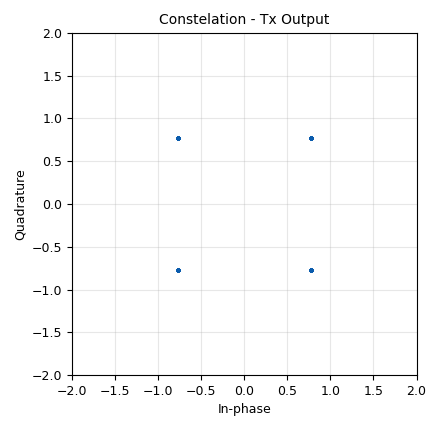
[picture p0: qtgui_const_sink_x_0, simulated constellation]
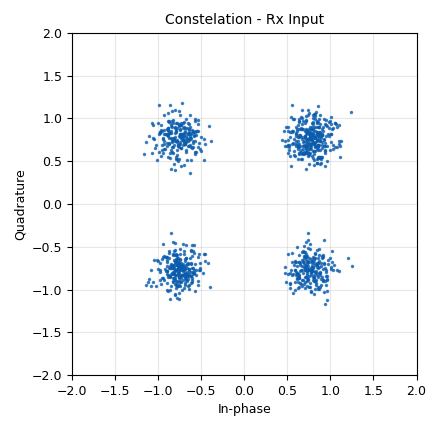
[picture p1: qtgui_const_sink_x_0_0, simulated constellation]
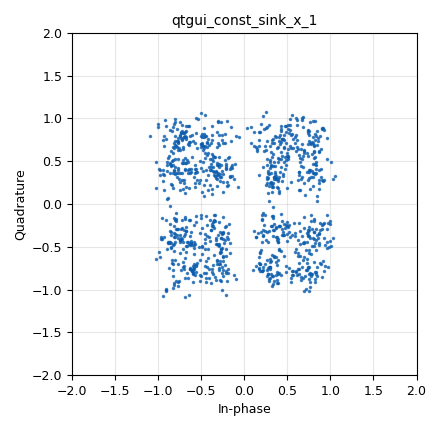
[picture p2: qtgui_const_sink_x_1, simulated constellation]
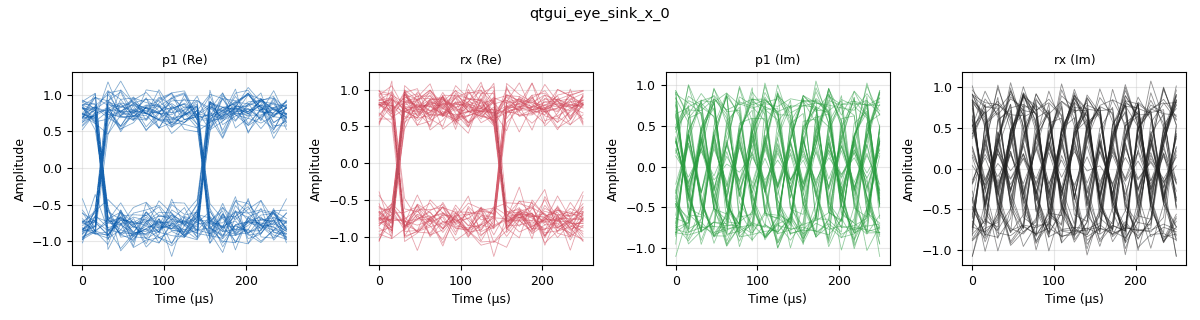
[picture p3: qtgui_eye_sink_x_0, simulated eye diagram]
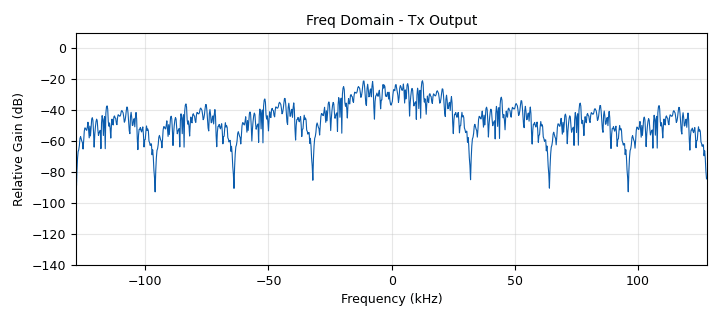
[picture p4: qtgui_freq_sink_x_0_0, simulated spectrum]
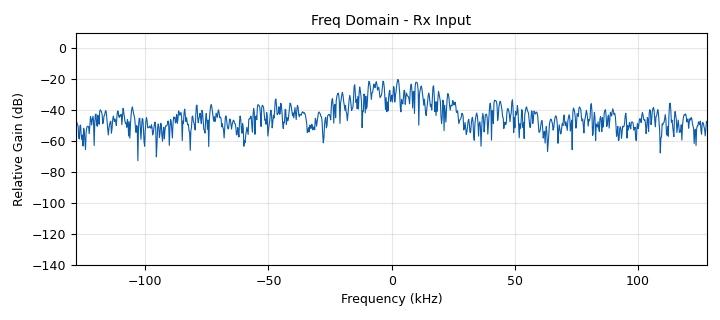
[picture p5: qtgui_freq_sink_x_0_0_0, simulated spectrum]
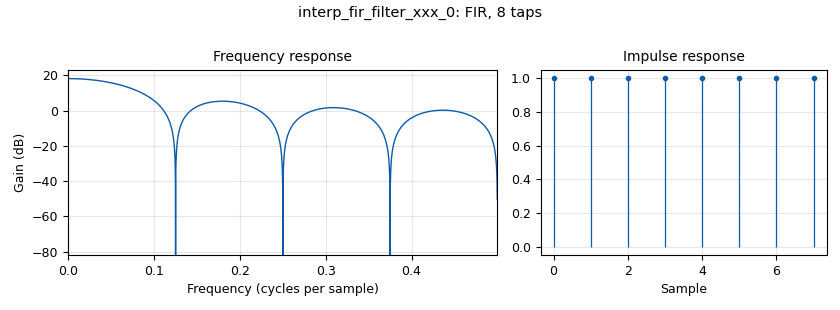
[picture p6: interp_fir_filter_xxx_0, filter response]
options:
  parameters:
    author: Stefano Rezende
    generate_options: qt_gui
    id: PSK_Mod_Demod
    output_language: python
    title: PSK_Mod_Demod
  states: {}

blocks:
- name: M
  id: variable
  parameters:
    value: len(tableConstelation)
  states: {}
- name: Rb
  id: variable
  parameters:
    value: Rs*bperSym
  states: {}
- name: Rs
  id: variable
  parameters:
    value: '32000'
  states: {}
- name: Sps
  id: variable
  parameters:
    value: '8'
  states: {}
- name: bperSym
  id: variable
  parameters:
    value: int(math.log(M,2))
  states: {}
- name: constellationObject
  id: variable_constellation
  parameters:
    const_points: tableConstelation
    dims: '1'
    normalization: digital.constellation.AMPLITUDE_NORMALIZATION
    precision: '8'
    rot_sym: '4'
    sym_map: mapa
    type: calcdist
  states: {}
- name: h
  id: variable
  parameters:
    value: '[1]*Sps'
  states: {}
- name: h
  id: variable
  parameters:
    value: wform.rcos(Sps,ntaps,1)
  states: {state: disabled}
- name: h
  id: variable
  parameters:
    value: wform.rrcos(Sps,ntaps,1)
  states: {state: disabled}
- name: mapa
  id: variable
  parameters:
    value: numpy.arange(M)
  states: {}
- name: ntaps
  id: variable
  parameters:
    value: 16*Sps
  states: {}
- name: samp_rate
  id: variable
  parameters:
    value: Rs*Sps
  states: {}
- name: tableConstelation
  id: variable
  parameters:
    value: (0.77+0.77j, -0.77+0.77j, -0.77-0.77j, 0.77-0.77j)
  states: {}
- name: analog_agc3_xx_0
  id: analog_agc3_xx
  parameters:
    attack_rate: '1e-3'
    decay_rate: '1e-4'
    gain: '1.0'
    iir_update_decim: '1'
    max_gain: '65536'
    reference: '1.0'
    type: complex
  states: {}
- name: analog_random_source_x_0
  id: analog_random_source_x
  parameters:
    max: '2'
    min: '0'
    num_samps: '1000'
    repeat: 'True'
    type: byte
  states: {}
- name: blocks_char_to_float_0_0_0
  id: blocks_char_to_float
  parameters:
    scale: '1'
  states: {}
- name: blocks_char_to_float_0_1
  id: blocks_char_to_float
  parameters:
    scale: '1'
  states: {}
- name: blocks_complex_to_float_0
  id: blocks_complex_to_float
  parameters: {}
  states: {}
- name: blocks_complex_to_float_0_0
  id: blocks_complex_to_float
  parameters: {}
  states: {}
- name: blocks_delay_1_0
  id: blocks_delay
  parameters:
    delay: Sps
    type: complex
  states: {}
- name: blocks_delay_1_0_0_0
  id: blocks_delay
  parameters:
    delay: Sps*bperSym
    type: byte
  states: {}
- name: blocks_multiply_const_vxx_0
  id: blocks_multiply_const_vxx
  parameters:
    const: 1/Sps
    type: complex
  states: {}
- name: blocks_pack_k_bits_bb_0
  id: blocks_pack_k_bits_bb
  parameters:
    k: '8'
  states: {}
- name: blocks_packed_to_unpacked_xx_0
  id: blocks_packed_to_unpacked_xx
  parameters:
    bits_per_chunk: bperSym
    endianness: gr.GR_MSB_FIRST
    type: byte
  states: {}
- name: blocks_throttle_0
  id: blocks_throttle
  parameters:
    samples_per_second: samp_rate
    type: complex
  states: {}
- name: blocks_unpack_k_bits_bb_0
  id: blocks_unpack_k_bits_bb
  parameters:
    k: '8'
  states: {}
- name: blocks_unpacked_to_packed_xx_0
  id: blocks_unpacked_to_packed_xx
  parameters:
    bits_per_chunk: bperSym
    endianness: gr.GR_MSB_FIRST
    type: byte
  states: {}
- name: channels_channel_model_0
  id: channels_channel_model
  parameters:
    epsilon: '1.0'
    freq_offset: '0.0'
    noise_voltage: '0.2'
    seed: '0'
    taps: '1'
  states: {}
- name: digital_chunks_to_symbols_xx_0
  id: digital_chunks_to_symbols_xx
  parameters:
    dimension: '1'
    in_type: byte
    out_type: complex
    symbol_table: tableConstelation
  states: {}
- name: digital_constellation_decoder_cb_0
  id: digital_constellation_decoder_cb
  parameters:
    constellation: constellationObject
  states: {}
- name: epy_block_0
  id: epy_block
  parameters:
    _source_code: |
      import numpy as np
      from gnuradio import gr

      class inversedB(gr.sync_block):  

          def __init__(self, ): 
              gr.sync_block.__init__(
                  self,
                  name='e_inversedB_ff',
                  in_sig=[np.float32],
                  out_sig=[np.float32]
              )

          def work(self, input_items, output_items):
              x=input_items[0]
              y=output_items[0]
              y[:]=np.power(10,x)
              return len(y)
  states: {}
- name: fec_ber_bf_0
  id: fec_ber_bf
  parameters:
    test_mode: 'False'
  states: {}
- name: import_0
  id: import
  parameters:
    imports: import math
  states: {}
- name: interp_fir_filter_xxx_0
  id: interp_fir_filter_xxx
  parameters:
    interp: Sps
    taps: h
    type: ccc
  states: {}
- name: interp_fir_filter_xxx_0_0
  id: interp_fir_filter_xxx
  parameters:
    interp: '1'
    taps: h
    type: ccc
  states: {}
- name: qtgui_const_sink_x_0
  id: qtgui_const_sink_x
  parameters:
    gui_hint: 0,0
    name: '"Constelation - Tx Output"'
    size: '1024'
    type: complex
  states: {}
- name: qtgui_const_sink_x_0_0
  id: qtgui_const_sink_x
  parameters:
    gui_hint: 0,1
    name: '"Constelation - Rx Input"'
    size: '1024'
    type: complex
  states: {}
- name: qtgui_const_sink_x_1
  id: qtgui_const_sink_x
  parameters:
    gui_hint: 4,1
    size: '1024'
    type: complex
  states: {}
- name: qtgui_eye_sink_x_0
  id: qtgui_eye_sink_x
  parameters:
    autoscale: 'True'
    label1: p1 (Re)
    label2: rx (Re)
    label3: p1 (Im)
    label4: rx (Im)
    marker1: '1'
    nconnections: '2'
    samp_per_symbol: Sps
    size: '1024'
    srate: Rs*bperSym
    type: complex
    yunit: ''
  states: {}
- name: qtgui_freq_sink_x_0_0
  id: qtgui_freq_sink_x
  parameters:
    bw: samp_rate
    fc: '0'
    fftsize: '1024'
    gui_hint: 2,0
    name: '"Freq Domain - Tx Output"'
    type: complex
  states: {}
- name: qtgui_freq_sink_x_0_0_0
  id: qtgui_freq_sink_x
  parameters:
    bw: samp_rate
    fc: '0'
    fftsize: '1024'
    gui_hint: 2,1
    name: '"Freq Domain - Rx Input"'
    type: complex
  states: {}
- name: qtgui_number_sink_0
  id: qtgui_number_sink
  parameters:
    avg: '1'
    graph_type: qtgui.NUM_GRAPH_HORIZ
    name: BER
    type: float
  states: {}
- name: qtgui_time_sink_x_0
  id: qtgui_time_sink_x
  parameters:
    gui_hint: 1,0
    name: '"Time Domain - Tx Output"'
    size: '1024'
    srate: samp_rate
    type: complex
  states: {}
- name: qtgui_time_sink_x_0_0
  id: qtgui_time_sink_x
  parameters:
    gui_hint: 1,1
    name: '"Time Domain - Rx Input"'
    size: '1024'
    srate: samp_rate
    type: complex
  states: {}
- name: qtgui_time_sink_x_0_0_0
  id: qtgui_time_sink_x
  parameters:
    gui_hint: 3,1
    label1: p1 (Im)
    label2: r1 (Im)
    name: '"WaveForm x Sample (Im)"'
    nconnections: '2'
    size: 16*Sps
    srate: samp_rate
    type: float
    width1: '3'
    width2: '3'
    ymax: '1.5'
    ymin: '-1.5'
  states: {}
- name: qtgui_time_sink_x_0_1
  id: qtgui_time_sink_x
  parameters:
    gui_hint: 3,0
    label1: p1 (Re)
    label2: r1 (Re)
    name: '"WaveForm x Sample (Re)"'
    nconnections: '2'
    size: 16*Sps
    srate: samp_rate
    type: float
    width1: '3'
    width2: '3'
    ymax: '1.5'
    ymin: '-1.5'
  states: {}
- name: qtgui_time_sink_x_1
  id: qtgui_time_sink_x
  parameters:
    color3: magenta
    gui_hint: 4,0
    label1: tx (Re)
    label2: tx (Im)
    label3: rx (Re)
    label4: rx (Im)
    marker1: '0'
    marker2: '0'
    marker3: '0'
    marker4: '0'
    name: '"Sample Stream"'
    nconnections: '2'
    size: '32'
    srate: Rs
    stemplot: 'True'
    style3: '2'
    type: complex
    width1: '3'
    width2: '3'
    width3: '3'
    width4: '3'
    ymax: '1.5'
    ymin: '-1.5'
  states: {}
- name: qtgui_time_sink_x_2_0
  id: qtgui_time_sink_x
  parameters:
    autoscale: 'True'
    label1: tx
    label2: rx
    marker1: '0'
    marker2: '0'
    name: '"Bit Stream"'
    nconnections: '2'
    size: 32*bperSym
    srate: Rs*bperSym
    stemplot: 'True'
    type: float
    width1: '3'
    width2: '3'
    ylabel: '""'
    ymax: '1.5'
    ymin: '-0.5'
  states: {}
- name: rational_resampler_xxx_0
  id: rational_resampler_xxx
  parameters:
    decim: Sps
    interp: '1'
    type: ccc
  states: {}
- name: virtual_sink_0
  id: virtual_sink
  parameters:
    stream_id: p0
  states: {}
- name: virtual_sink_0_0
  id: virtual_sink
  parameters:
    stream_id: p1
  states: {}
- name: virtual_sink_0_0_0
  id: virtual_sink
  parameters:
    stream_id: r1
  states: {}
- name: virtual_sink_0_0_0_0
  id: virtual_sink
  parameters:
    stream_id: r2
  states: {}
- name: virtual_sink_0_0_0_0_0
  id: virtual_sink
  parameters:
    stream_id: t2
  states: {}
- name: virtual_sink_1
  id: virtual_sink
  parameters:
    stream_id: t3
  states: {}
- name: virtual_source_0
  id: virtual_source
  parameters:
    stream_id: p0
  states: {}
- name: virtual_source_0_0
  id: virtual_source
  parameters:
    stream_id: p1
  states: {}
- name: virtual_source_0_1
  id: virtual_source
  parameters:
    stream_id: r1
  states: {}
- name: virtual_source_0_1_0
  id: virtual_source
  parameters:
    stream_id: t2
  states: {}
- name: virtual_source_0_1_0_0
  id: virtual_source
  parameters:
    stream_id: r2
  states: {}
- name: virtual_source_1
  id: virtual_source
  parameters:
    stream_id: t3
  states: {}
- name: wform
  id: epy_module
  parameters:
    source_code: "import math\r\nimport numpy\r\n#######################################################\r\n##        Hecho por Homero Ortega Boada              ##\r\n##        comdiguis@saber.uis.edu.co                 ##\r\n##     Universidad Industrial de Santander           ##\r\n#######################################################\r\n\r\n#######################################################\r\n##               Forma rectangular                   ##\r\n#######################################################                       \r\ndef rect(Sps):\r\n    return Sps*[1.,]\r\n\r\n#######################################################\r\n##               Forma de Nyquist                    ##\r\n#######################################################                       \r\ndef nyq(Sps,ntaps):\r\n    n=numpy.linspace(-int(ntaps/2), int(ntaps/2-1),ntaps)\r\n    h=numpy.sinc(n/Sps)\r\n#    return h/numpy.amax(h)\r\n    return h\r\n#######################################################\r\n##               Forma Coseno Alzado                 ##\r\n#######################################################                       \r\ndef rcos(Sps,ntaps,beta):\r\n    if beta==0:\r\n        h=nyq(Sps,ntaps)\r\n    else:\r\n        h=ntaps*[0,]\r\n        for n in range(ntaps):\r\n            k=n-ntaps/2. # esto es para que h[n] quede centrada en la mitad del vector\r\n            if abs(k)==Sps/(2.*beta):\r\n                h[n]=numpy.sinc(1./(2.*beta))*math.pi/4.\r\n            else:\r\n                h[n]=numpy.sinc(k/Sps)*math.cos(beta*k*math.pi/Sps)/(1.-(2.*beta*k/Sps)**2)                \r\n    Amp=numpy.amax(h)\r\n    return h/Amp\r\n#######################################################\r\n##            Forma Raiz de Coseno Alzado            ##\r\n#######################################################                       \r\n\r\ndef rrcos(Sps,ntaps,beta):\r\n    if beta==0:\r\n        h=nyq(Sps,ntaps)\r\n    else:\r\n        h=ntaps*[0,]\r\n        beta4=4.*beta\r\n        for n in range(ntaps):\r\n            k=n-ntaps/2. # esto es para que h[n] quede centrada en la mitad del vector\r\n            if k==0:\r\n                h[n]=1+beta*(4./math.pi-1.)\r\n            elif abs(k)==Sps/beta4:\r\n                ha=(1.+2./math.pi)*math.sin(math.pi/beta4)\r\n                hb=(1.-2./math.pi)*math.cos(math.pi/beta4)\r\n                h[n]=(ha+hb)*beta/math.sqrt(2.)\r\n            else:\r\n                ks=k/Sps\r\n                kspi=math.pi*ks\r\n                Num=math.sin(kspi*(1-beta))+beta4*ks*math.cos(kspi*(1+beta))\r\n                Den=kspi*(1.-(beta4*ks)**2)\r\n                h[n]=Num/Den                \r\n    Amp=numpy.amax(h)\r\n    return h/Amp\r\n########################################################\r\n##     Bipolar non return to zero level signal        ##\r\n########################################################\r\ndef B_NRZ_L(Sps):\r\n    return Sps*[1.,]\r\n\r\n########################################################\r\n##  Forma sinc . Es la misma nyq() que aparece arriba ##\r\n########################################################\r\ndef sinc(Sps,ntaps):\r\n    n=np.linspace(-int(ntaps/2), int(ntaps/2-1),ntaps)\r\n    h=np.sinc(n/Sps)\r\n    return h\r\n########################################################\r\n##              forma diente se sierra                ##\r\n########################################################\r\ndef saw(Sps):\r\n    return np.linspace(0,Sps-1,Sps)\t\r\n########################################################\r\n#         Bipolar non return to zero signal           ##\r\n########################################################\r\ndef RZ(Sps):\r\n    h=Sps*[1.,]\r\n    Sps_m=int(Sps/2)\r\n    h[Sps_m+1:Sps:1]=np.zeros(Sps-Sps_m)\r\n    return h\r\n"
  states: {}

connections:
- [analog_agc3_xx_0, '0', digital_constellation_decoder_cb_0, '0']
- [analog_random_source_x_0, '0', blocks_pack_k_bits_bb_0, '0']
- [analog_random_source_x_0, '0', virtual_sink_1, '0']
- [blocks_char_to_float_0_0_0, '0', qtgui_time_sink_x_2_0, '1']
- [blocks_char_to_float_0_1, '0', qtgui_time_sink_x_2_0, '0']
- [blocks_complex_to_float_0, '0', qtgui_time_sink_x_0_1, '0']
- [blocks_complex_to_float_0, '1', qtgui_time_sink_x_0_0_0, '0']
- [blocks_complex_to_float_0_0, '0', qtgui_time_sink_x_0_1, '1']
- [blocks_complex_to_float_0_0, '1', qtgui_time_sink_x_0_0_0, '1']
- [blocks_delay_1_0, '0', qtgui_time_sink_x_1, '0']
- [blocks_delay_1_0_0_0, '0', blocks_char_to_float_0_1, '0']
- [blocks_delay_1_0_0_0, '0', fec_ber_bf_0, '0']
- [blocks_multiply_const_vxx_0, '0', rational_resampler_xxx_0, '0']
- [blocks_multiply_const_vxx_0, '0', virtual_sink_0_0_0, '0']
- [blocks_pack_k_bits_bb_0, '0', blocks_packed_to_unpacked_xx_0, '0']
- [blocks_packed_to_unpacked_xx_0, '0', digital_chunks_to_symbols_xx_0, '0']
- [blocks_throttle_0, '0', interp_fir_filter_xxx_0_0, '0']
- [blocks_unpack_k_bits_bb_0, '0', blocks_char_to_float_0_0_0, '0']
- [blocks_unpack_k_bits_bb_0, '0', fec_ber_bf_0, '1']
- [blocks_unpacked_to_packed_xx_0, '0', blocks_unpack_k_bits_bb_0, '0']
- [channels_channel_model_0, '0', blocks_throttle_0, '0']
- [channels_channel_model_0, '0', virtual_sink_0_0, '0']
- [digital_chunks_to_symbols_xx_0, '0', interp_fir_filter_xxx_0, '0']
- [digital_chunks_to_symbols_xx_0, '0', virtual_sink_0_0_0_0_0, '0']
- [digital_constellation_decoder_cb_0, '0', blocks_unpacked_to_packed_xx_0, '0']
- [epy_block_0, '0', qtgui_number_sink_0, '0']
- [fec_ber_bf_0, '0', epy_block_0, '0']
- [interp_fir_filter_xxx_0, '0', channels_channel_model_0, '0']
- [interp_fir_filter_xxx_0, '0', virtual_sink_0, '0']
- [interp_fir_filter_xxx_0_0, '0', blocks_multiply_const_vxx_0, '0']
- [rational_resampler_xxx_0, '0', analog_agc3_xx_0, '0']
- [rational_resampler_xxx_0, '0', virtual_sink_0_0_0_0, '0']
- [virtual_source_0, '0', blocks_complex_to_float_0, '0']
- [virtual_source_0, '0', qtgui_const_sink_x_0, '0']
- [virtual_source_0, '0', qtgui_freq_sink_x_0_0, '0']
- [virtual_source_0, '0', qtgui_time_sink_x_0, '0']
- [virtual_source_0_0, '0', qtgui_const_sink_x_0_0, '0']
- [virtual_source_0_0, '0', qtgui_eye_sink_x_0, '0']
- [virtual_source_0_0, '0', qtgui_freq_sink_x_0_0_0, '0']
- [virtual_source_0_0, '0', qtgui_time_sink_x_0_0, '0']
- [virtual_source_0_1, '0', blocks_complex_to_float_0_0, '0']
- [virtual_source_0_1_0, '0', blocks_delay_1_0, '0']
- [virtual_source_0_1_0_0, '0', qtgui_const_sink_x_1, '0']
- [virtual_source_0_1_0_0, '0', qtgui_eye_sink_x_0, '1']
- [virtual_source_0_1_0_0, '0', qtgui_time_sink_x_1, '1']
- [virtual_source_1, '0', blocks_delay_1_0_0_0, '0']

metadata:
  file_format: 1
